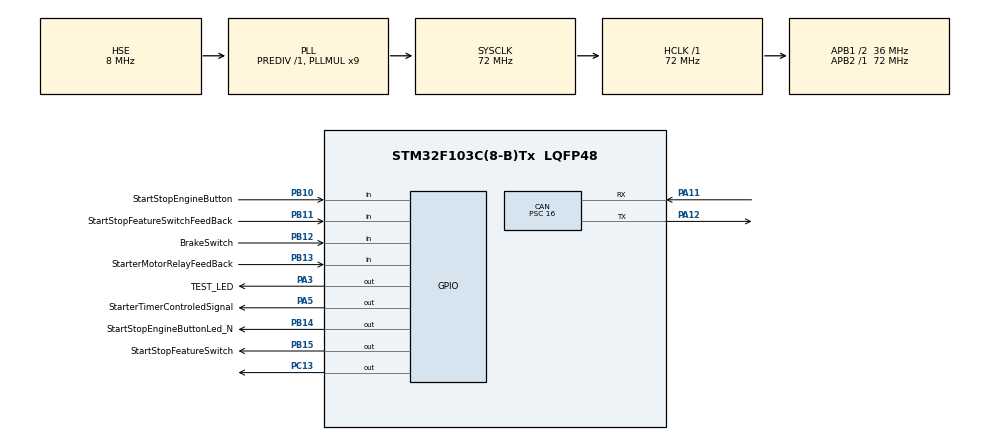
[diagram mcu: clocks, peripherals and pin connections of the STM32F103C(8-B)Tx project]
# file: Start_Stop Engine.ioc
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CAN.BS1=CAN_BS1_15TQ
CAN.BS2=CAN_BS2_2TQ
CAN.CalculateBaudRate=125000
CAN.CalculateTimeBit=8000
CAN.CalculateTimeQuantum=444.44444444444446
CAN.Prescaler=16
Mcu.Family=STM32F1
Mcu.Name=STM32F103C(8-B)Tx
Mcu.Package=LQFP48
NVIC.PriorityGroup=NVIC_PRIORITYGROUP_4
NVIC.TIM1_UP_IRQn=true\:15\:0\:false\:false\:true\:false\:true\:true
NVIC.TIM2_IRQn=true\:15\:0\:false\:false\:true\:true\:true\:true
NVIC.TimeBase=TIM1_UP_IRQn
NVIC.TimeBaseIP=TIM1
NVIC.USB_HP_CAN1_TX_IRQn=true\:0\:0\:true\:false\:true\:true\:true\:true
NVIC.USB_LP_CAN1_RX0_IRQn=true\:0\:0\:true\:false\:true\:true\:true\:true
PA11.Mode=CAN_Activate
PA11.Signal=CAN_RX
PA12.Mode=CAN_Activate
PA12.Signal=CAN_TX
PA13.Mode=Serial_Wire
PA13.Signal=SYS_JTMS-SWDIO
PA14.Mode=Serial_Wire
PA14.Signal=SYS_JTCK-SWCLK
PA3.GPIO_Label=TEST_LED
PA3.Signal=GPIO_Output
PA5.GPIO_Label=StarterTimerControledSignal
PA5.GPIO_ModeDefaultOutputPP=GPIO_MODE_OUTPUT_OD
PA5.GPIO_PuPd=GPIO_NOPULL
PA5.PinState=GPIO_PIN_SET
PA5.Signal=GPIO_Output
PB10.GPIO_Label=StartStopEngineButton
PB10.Signal=GPIO_Input
PB11.GPIO_Label=StartStopFeatureSwitchFeedBack
PB11.Signal=GPIO_Input
PB12.GPIO_Label=BrakeSwitch
PB12.Signal=GPIO_Input
PB13.GPIO_Label=StarterMotorRelayFeedBack
PB13.Signal=GPIO_Input
PB14.GPIO_Label=StartStopEngineButtonLed_N
PB14.PinState=GPIO_PIN_SET
PB14.Signal=GPIO_Output
PB15.GPIO_Label=StartStopFeatureSwitch
PB15.GPIO_ModeDefaultOutputPP=GPIO_MODE_OUTPUT_OD
PB15.GPIO_PuPd=GPIO_NOPULL
PB15.PinState=GPIO_PIN_SET
PB15.Signal=GPIO_Output
PC13-TAMPER-RTC.Signal=GPIO_Output
PD0-OSC_IN.Mode=HSE-External-Oscillator
PD0-OSC_IN.Signal=RCC_OSC_IN
PD1-OSC_OUT.Mode=HSE-External-Oscillator
PD1-OSC_OUT.Signal=RCC_OSC_OUT
ProjectManager.HeapSize=0x200
ProjectManager.StackSize=0x400
ProjectManager.TargetToolchain=MDK-ARM V5.27
RCC.AHBFreq_Value=72000000
RCC.APB1CLKDivider=RCC_HCLK_DIV2
RCC.APB1Freq_Value=36000000
RCC.APB1TimFreq_Value=72000000
RCC.APB2Freq_Value=72000000
RCC.APB2TimFreq_Value=72000000
RCC.HCLKFreq_Value=72000000
RCC.PLLMUL=RCC_PLL_MUL9
RCC.PLLSourceVirtual=RCC_PLLSOURCE_HSE
RCC.SYSCLKFreq_VALUE=72000000
RCC.SYSCLKSource=RCC_SYSCLKSOURCE_PLLCLK
RCC.USBFreq_Value=72000000
TIM2.Period=49999
TIM2.Prescaler=14399
TIM3.Period=49999
TIM3.Prescaler=14399
VP_SYS_VS_tim1.Mode=TIM1
VP_TIM2_VS_ClockSourceINT.Mode=Internal
VP_TIM3_VS_ClockSourceINT.Mode=Internal
board=custom

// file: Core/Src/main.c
/* USER CODE BEGIN Header */
/**
  ******************************************************************************
  * @file           : main.c
  * @brief          : Main program body
  ******************************************************************************
  * @attention
  *
  * <h2><center>&copy; Copyright (c) 2021 STMicroelectronics.
  * All rights reserved.</center></h2>
  *
  * This software component is licensed by ST under BSD 3-Clause license,
  * the "License"; You may not use this file except in compliance with the
  * License. You may obtain a copy of the License at:
  *                        opensource.org/licenses/BSD-3-Clause
  *
  ******************************************************************************
  */
/* USER CODE END Header */
#include "main.h"

/* USER CODE BEGIN Includes */
#include "FreeRTOS.h"
#include "task.h"
#include "semphr.h"
#include "Tasks.h"
/* USER CODE END Includes */

 CAN_HandleTypeDef hcan;

TIM_HandleTypeDef htim2;
TIM_HandleTypeDef htim3;

/* USER CODE BEGIN PV */
extern SemaphoreHandle_t SSETimeControlTaskSemaphore;
/* USER CODE END PV */

void SystemClock_Config(void);
static void MX_GPIO_Init(void);
static void MX_TIM2_Init(void);
static void MX_CAN_Init(void);
static void MX_TIM3_Init(void);
/* USER CODE BEGIN PFP */
	CAN_RxHeaderTypeDef msgRx;
	CAN_FilterTypeDef filter;
	CAN_TxHeaderTypeDef msgTx;
	uint32_t mailbox;
	uint8_t data[6]={1};
	uint8_t RecMesg[6]={0,0,0,0,0,0};
	void CAN_Tx(void)
	{

		msgTx.StdId=60;
		msgTx.ExtId=0;
		msgTx.DLC=1;
		msgTx.IDE=CAN_ID_STD;
		msgTx.RTR=CAN_RTR_DATA;
		msgTx.TransmitGlobalTime=DISABLE;
		HAL_CAN_AddTxMessage(&hcan,&msgTx,data,&mailbox);

		while(HAL_CAN_IsTxMessagePending(&hcan,mailbox));
				HAL_GPIO_TogglePin(GPIOC, GPIO_PIN_13);

	}
/* USER CODE END PFP */

/* USER CODE BEGIN 0 */

extern void CAN_Filter_Config();
/* USER CODE END 0 */

int main(void)
{

  /* MCU Configuration--------------------------------------------------------*/

  /* Reset of all peripherals, Initializes the Flash interface and the Systick. */
  HAL_Init();

  /* Configure the system clock */
  SystemClock_Config();

  /* Initialize all configured peripherals */
  MX_GPIO_Init();
  MX_TIM2_Init();
  MX_CAN_Init();
  MX_TIM3_Init();
  /* USER CODE BEGIN 2 */
	StartStopEngineInit();

	vTaskStartScheduler();
  /* USER CODE END 2 */

  /* Infinite loop */
  while (1)
  {

  }
}

void SystemClock_Config(void)
{
  RCC_OscInitTypeDef RCC_OscInitStruct = {0};
  RCC_ClkInitTypeDef RCC_ClkInitStruct = {0};

  /** Initializes the RCC Oscillators according to the specified parameters
  * in the RCC_OscInitTypeDef structure.
  */
  RCC_OscInitStruct.OscillatorType = RCC_OSCILLATORTYPE_HSE;
  RCC_OscInitStruct.HSEState = RCC_HSE_ON;
  RCC_OscInitStruct.HSEPredivValue = RCC_HSE_PREDIV_DIV1;
  RCC_OscInitStruct.HSIState = RCC_HSI_ON;
  RCC_OscInitStruct.PLL.PLLState = RCC_PLL_ON;
  RCC_OscInitStruct.PLL.PLLSource = RCC_PLLSOURCE_HSE;
  RCC_OscInitStruct.PLL.PLLMUL = RCC_PLL_MUL9;
  if (HAL_RCC_OscConfig(&RCC_OscInitStruct) != HAL_OK)
  {
    Error_Handler();
  }

  /** Initializes the CPU, AHB and APB buses clocks
  */
  RCC_ClkInitStruct.ClockType = RCC_CLOCKTYPE_HCLK|RCC_CLOCKTYPE_SYSCLK
                              |RCC_CLOCKTYPE_PCLK1|RCC_CLOCKTYPE_PCLK2;
  RCC_ClkInitStruct.SYSCLKSource = RCC_SYSCLKSOURCE_PLLCLK;
  RCC_ClkInitStruct.AHBCLKDivider = RCC_SYSCLK_DIV1;
  RCC_ClkInitStruct.APB1CLKDivider = RCC_HCLK_DIV2;
  RCC_ClkInitStruct.APB2CLKDivider = RCC_HCLK_DIV1;

  if (HAL_RCC_ClockConfig(&RCC_ClkInitStruct, FLASH_LATENCY_2) != HAL_OK)
  {
    Error_Handler();
  }
}

static void MX_CAN_Init(void)
{

  hcan.Instance = CAN1;
  hcan.Init.Prescaler = 16;
  hcan.Init.Mode = CAN_MODE_NORMAL;
  hcan.Init.SyncJumpWidth = CAN_SJW_1TQ;
  hcan.Init.TimeSeg1 = CAN_BS1_15TQ;
  hcan.Init.TimeSeg2 = CAN_BS2_2TQ;
  hcan.Init.TimeTriggeredMode = DISABLE;
  hcan.Init.AutoBusOff = DISABLE;
  hcan.Init.AutoWakeUp = DISABLE;
  hcan.Init.AutoRetransmission = DISABLE;
  hcan.Init.ReceiveFifoLocked = DISABLE;
  hcan.Init.TransmitFifoPriority = DISABLE;
  if (HAL_CAN_Init(&hcan) != HAL_OK)
  {
    Error_Handler();
  }

}

static void MX_TIM2_Init(void)
{

  TIM_ClockConfigTypeDef sClockSourceConfig = {0};
  TIM_MasterConfigTypeDef sMasterConfig = {0};

  htim2.Instance = TIM2;
  htim2.Init.Prescaler = 14399;
  htim2.Init.CounterMode = TIM_COUNTERMODE_UP;
  htim2.Init.Period = 49999;
  htim2.Init.ClockDivision = TIM_CLOCKDIVISION_DIV1;
  htim2.Init.AutoReloadPreload = TIM_AUTORELOAD_PRELOAD_DISABLE;
  if (HAL_TIM_Base_Init(&htim2) != HAL_OK)
  {
    Error_Handler();
  }
  sClockSourceConfig.ClockSource = TIM_CLOCKSOURCE_INTERNAL;
  if (HAL_TIM_ConfigClockSource(&htim2, &sClockSourceConfig) != HAL_OK)
  {
    Error_Handler();
  }
  sMasterConfig.MasterOutputTrigger = TIM_TRGO_RESET;
  sMasterConfig.MasterSlaveMode = TIM_MASTERSLAVEMODE_DISABLE;
  if (HAL_TIMEx_MasterConfigSynchronization(&htim2, &sMasterConfig) != HAL_OK)
  {
    Error_Handler();
  }

}

static void MX_TIM3_Init(void)
{

  TIM_ClockConfigTypeDef sClockSourceConfig = {0};
  TIM_MasterConfigTypeDef sMasterConfig = {0};

  htim3.Instance = TIM3;
  htim3.Init.Prescaler = 14399;
  htim3.Init.CounterMode = TIM_COUNTERMODE_UP;
  htim3.Init.Period = 49999;
  htim3.Init.ClockDivision = TIM_CLOCKDIVISION_DIV1;
  htim3.Init.AutoReloadPreload = TIM_AUTORELOAD_PRELOAD_DISABLE;
  if (HAL_TIM_Base_Init(&htim3) != HAL_OK)
  {
    Error_Handler();
  }
  sClockSourceConfig.ClockSource = TIM_CLOCKSOURCE_INTERNAL;
  if (HAL_TIM_ConfigClockSource(&htim3, &sClockSourceConfig) != HAL_OK)
  {
    Error_Handler();
  }
  sMasterConfig.MasterOutputTrigger = TIM_TRGO_RESET;
  sMasterConfig.MasterSlaveMode = TIM_MASTERSLAVEMODE_DISABLE;
  if (HAL_TIMEx_MasterConfigSynchronization(&htim3, &sMasterConfig) != HAL_OK)
  {
    Error_Handler();
  }

}

static void MX_GPIO_Init(void)
{
  GPIO_InitTypeDef GPIO_InitStruct = {0};

  /* GPIO Ports Clock Enable */
  __HAL_RCC_GPIOC_CLK_ENABLE();
  __HAL_RCC_GPIOD_CLK_ENABLE();
  __HAL_RCC_GPIOA_CLK_ENABLE();
  __HAL_RCC_GPIOB_CLK_ENABLE();

  /*Configure GPIO pin Output Level */
  HAL_GPIO_WritePin(GPIOC, GPIO_PIN_13, GPIO_PIN_RESET);

  /*Configure GPIO pin Output Level */
  HAL_GPIO_WritePin(TEST_LED_GPIO_Port, TEST_LED_Pin, GPIO_PIN_RESET);

  /*Configure GPIO pin Output Level */
  HAL_GPIO_WritePin(StarterTimerControledSignal_GPIO_Port, StarterTimerControledSignal_Pin, GPIO_PIN_SET);

  /*Configure GPIO pin Output Level */
  HAL_GPIO_WritePin(GPIOB, StartStopEngineButtonLed_N_Pin|StartStopFeatureSwitch_Pin, GPIO_PIN_SET);

  /*Configure GPIO pin : PC13 */
  GPIO_InitStruct.Pin = GPIO_PIN_13;
  GPIO_InitStruct.Mode = GPIO_MODE_OUTPUT_PP;
  GPIO_InitStruct.Pull = GPIO_NOPULL;
  GPIO_InitStruct.Speed = GPIO_SPEED_FREQ_LOW;
  HAL_GPIO_Init(GPIOC, &GPIO_InitStruct);

  /*Configure GPIO pin : TEST_LED_Pin */
  GPIO_InitStruct.Pin = TEST_LED_Pin;
  GPIO_InitStruct.Mode = GPIO_MODE_OUTPUT_PP;
  GPIO_InitStruct.Pull = GPIO_NOPULL;
  GPIO_InitStruct.Speed = GPIO_SPEED_FREQ_LOW;
  HAL_GPIO_Init(TEST_LED_GPIO_Port, &GPIO_InitStruct);

  /*Configure GPIO pin : StarterTimerControledSignal_Pin */
  GPIO_InitStruct.Pin = StarterTimerControledSignal_Pin;
  GPIO_InitStruct.Mode = GPIO_MODE_OUTPUT_OD;
  GPIO_InitStruct.Pull = GPIO_NOPULL;
  GPIO_InitStruct.Speed = GPIO_SPEED_FREQ_LOW;
  HAL_GPIO_Init(StarterTimerControledSignal_GPIO_Port, &GPIO_InitStruct);

  /*Configure GPIO pins : StartStopEngineButton_Pin StartStopFeatureSwitchFeedBack_Pin BrakeSwitch_Pin StarterMotorRelayFeedBack_Pin */
  GPIO_InitStruct.Pin = StartStopEngineButton_Pin|StartStopFeatureSwitchFeedBack_Pin|BrakeSwitch_Pin|StarterMotorRelayFeedBack_Pin;
  GPIO_InitStruct.Mode = GPIO_MODE_INPUT;
  GPIO_InitStruct.Pull = GPIO_NOPULL;
  HAL_GPIO_Init(GPIOB, &GPIO_InitStruct);

  /*Configure GPIO pin : StartStopEngineButtonLed_N_Pin */
  GPIO_InitStruct.Pin = StartStopEngineButtonLed_N_Pin;
  GPIO_InitStruct.Mode = GPIO_MODE_OUTPUT_PP;
  GPIO_InitStruct.Pull = GPIO_NOPULL;
  GPIO_InitStruct.Speed = GPIO_SPEED_FREQ_LOW;
  HAL_GPIO_Init(StartStopEngineButtonLed_N_GPIO_Port, &GPIO_InitStruct);

  /*Configure GPIO pin : StartStopFeatureSwitch_Pin */
  GPIO_InitStruct.Pin = StartStopFeatureSwitch_Pin;
  GPIO_InitStruct.Mode = GPIO_MODE_OUTPUT_OD;
  GPIO_InitStruct.Pull = GPIO_NOPULL;
  GPIO_InitStruct.Speed = GPIO_SPEED_FREQ_LOW;
  HAL_GPIO_Init(StartStopFeatureSwitch_GPIO_Port, &GPIO_InitStruct);

}

void HAL_TIM_PeriodElapsedCallback(TIM_HandleTypeDef *htim)
{
  /* USER CODE BEGIN Callback 0 */
	if (htim->Instance == TIM2)
	{
		xSemaphoreGive(SSETimeControlTaskSemaphore);
	}

  /* USER CODE END Callback 0 */
  if (htim->Instance == TIM1) {
    HAL_IncTick();
  }
}

void Error_Handler(void)
{
  __disable_irq();
  while (1)
  {
  }
}
